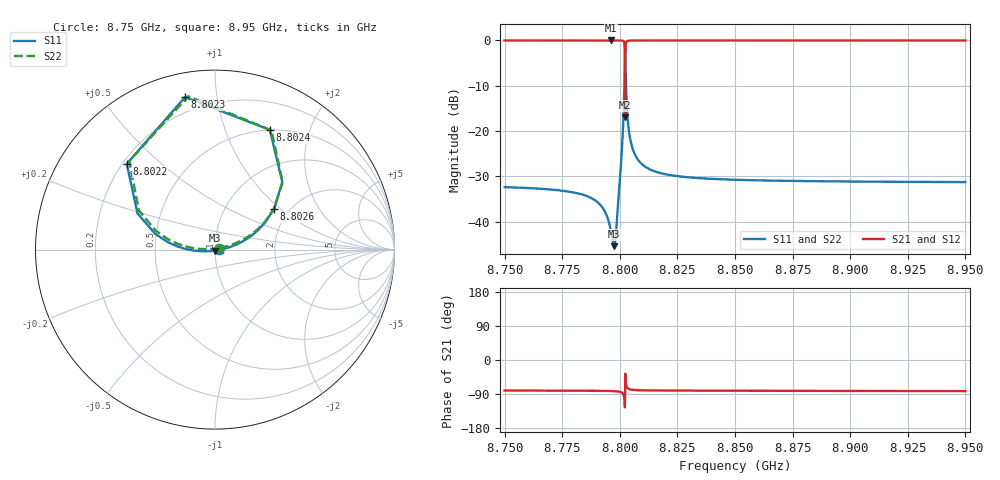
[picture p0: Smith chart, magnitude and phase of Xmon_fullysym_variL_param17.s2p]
! Sonnet Data File
! From: emgraph Version : 16.52
! From Project: 171117_Xmon_fullysym
! Data is De-embedded
! Data File Written: 11/26/2017 17:14:24
!< HDATE 11/22/2017 16:48:52
!< MDATE 11/23/2017 10:16:42
!< PARAMS
!< Lj = 11.0
!< Gap = 1.0
!< Pwid = 2000.0
!< Airgap = 6.0
!< Width = 10.0
!< Lj1 = 9.5
!< END PARAMS
# GHZ S MA R 50.90000
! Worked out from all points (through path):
!   2001 points, 8.75 GHz to 8.95 GHz, reference 50.9 ohm
!   highest |S21| = 0.00 dB at 8.796 GHz (marker M1); lowest = -17.0 dB at 8.8023 GHz (marker M2)
!   lowest |S11| = -45.4 dB at 8.7975 GHz (marker M3), VSWR 1.01, Z = 51 - j0.541 ohm
!   |S11| at or under -10 dB: start of sweep to 8.802 GHz; 8.8027 GHz to end of sweep
!   |S22| runs from -45.1 to -1.2 dB; largest |S21 - S12| = 7.8e-11
!   S11 on the Smith chart (normalised r, x): 8.75 GHz: 1.05, -0.00; 8.8022 GHz: 0.22, +0.39; 8.8023 GHz: 0.12, +0.82; 8.8024 GHz: 0.50, +1.44; 8.8026 GHz: 1.68, +0.91; 8.95 GHz: 1.06, -0.00
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8.75  0.02406 -2.9  0.9997 -80.5  0.9997 -80.5  0.02406 22.0
!< P1 F=8.75 Eeff=(6.44841643 -2.9796e-5) Z0=(50.9085185 1.17018e-4) R=0.0 C=0.0
!< P2 F=8.75 Eeff=(6.44841643 -2.9796e-5) Z0=(50.9085185 1.17018e-4) R=0.0 C=0.0
8.7834  0.02004 -6.2  0.9998 -81.0  0.9998 -81.0  0.02005 24.2
8.7919  0.01496 -12.2  0.9999 -81.4  0.9999 -81.4  0.01498 29.5
8.796  0.008225 -32.5  0.9999 -81.9  0.9999 -81.9  0.008306 49.3
8.7975  0.00537 -81.1  0.9999 -82.3  0.9999 -82.3  0.005578 96.5
8.7983  0.007367 -125.7  0.9998 -82.6  0.9998 -82.6  0.007584 139.0
8.7993  0.01624 -153.9  0.9996 -83.2  0.9996 -83.2  0.01641 165.8
8.8006  0.04693 -168.7  0.9981 -85.0  0.9981 -85.0  0.04712 176.8
8.8013  0.09662 -175.4  0.993 -87.9  0.993 -87.9  0.09688 177.0
8.8022  0.6855 135.8  0.6157 -124.8  0.6157 -124.8  0.6867 134.1
8.8023  0.8655 101.1  0.1415 -100.1  0.1415 -100.1  0.867 99.9
8.8024  0.7337 65.4  0.55 -36.3  0.55 -36.3  0.7349 64.7
8.8026  0.4 34.6  0.8924 -58.8  0.8924 -58.8  0.4006 34.8
8.8034  0.1378 14.7  0.9885 -74.4  0.9885 -74.4  0.1379 18.1
8.8042  0.09109 10.4  0.9952 -77.1  0.9952 -77.1  0.09116 16.1
8.8062  0.05787 6.3  0.9982 -79.1  0.9982 -79.1  0.0579 15.9
8.81  0.04231 3.2  0.9991 -80.0  0.9991 -80.0  0.04232 16.9
8.8167  0.03491 1.1  0.9994 -80.5  0.9994 -80.5  0.03491 18.0
8.85  0.02902 -1.5  0.9996 -81.1  0.9996 -81.1  0.02902 19.3
8.8834  0.028 -2.4  0.9996 -81.5  0.9996 -81.5  0.028 19.4
8.9167  0.02759 -2.9  0.9996 -81.8  0.9996 -81.8  0.02759 19.3
8.95  0.02736 -3.4  0.9996 -82.2  0.9996 -82.2  0.02736 19.1
